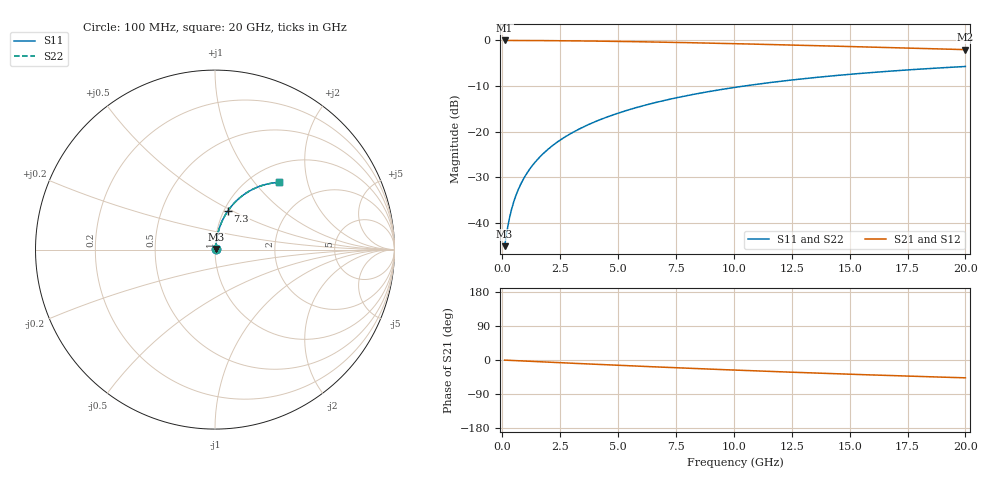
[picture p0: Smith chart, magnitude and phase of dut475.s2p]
! Touchstone file exported from HFSS 2024.1.0
!  File:  C:/UserFiles/LocalFiles/RDL_TSV_Batchsim/temp_RDL_bottom_475_1779686149.aedt
!  Generated:  01:18:20 PM May 25, 2026
!  Design:  RDL_bottom
!  Project:  temp_RDL_bottom_475_1779686149
!  Setup:  Setup1
!  Solution:  Sweep
! Variables:
!  dtsv = 10.80580581um
!  hbump = 3um
!  htsv = 92.35um
!  ldown = 597.18um
!  lrdl = 100um
!  p = 40
!  p1 = 55.81um
!  rhole = 1um
!  t = 450um
!  tdown = 3.8um
!  trdl = 3.915915916um
!  wdown = 12.78um
!  wrdl = 20um
# GHz S MA R 50.000000
! Terminal data exported
! Port[1] = RDL1_T1
! Port[2] = RDL1_T2
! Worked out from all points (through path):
!   200 points, 100 MHz to 20 GHz, reference 50 ohm
!   highest |S21| = -0.04 dB at 100 MHz (marker M1); lowest = -2.0 dB at 20 GHz (marker M2)
!   group delay of S21, straight-line fit = 6.53 ps
!   lowest |S11| = -45.1 dB at 100 MHz (marker M3), VSWR 1.01, Z = 50.4 + j0.336 ohm
!   |S11| at or under -10 dB: start of sweep to 10.49 GHz
!   |S22| runs from -45.1 to -5.7 dB; largest |S21 - S12| = 2.9e-15
!   S11 on the Smith chart (normalised r, x): 100 MHz: 1.01, +0.01; 7.3 GHz: 1.04, +0.48; 20 GHz: 1.32, +1.35
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0.1  0.005534 37.0  0.9956 -0.3  0.9956 -0.3  0.005534 37.0
! Gamma 0 0 0 0
! Port Impedance 50 0 50 0
0.2  0.008028 55.7  0.9955 -0.6  0.9955 -0.6  0.008028 55.7
0.3  0.01095 64.8  0.9954 -0.9  0.9954 -0.9  0.01095 64.8
0.4  0.01401 69.8  0.9952 -1.2  0.9952 -1.2  0.01401 69.8
0.5  0.01712 72.9  0.995 -1.4  0.995 -1.4  0.01712 72.9
0.6  0.02026 74.9  0.9949 -1.7  0.9949 -1.7  0.02026 74.9
0.8  0.02655 77.5  0.9945 -2.3  0.9945 -2.3  0.02655 77.5
1.1  0.03604 79.5  0.9938 -3.1  0.9938 -3.1  0.03604 79.5
1.5  0.04874 80.5  0.9927 -4.3  0.9927 -4.3  0.04874 80.5
1.8  0.05828 80.7  0.9917 -5.1  0.9917 -5.1  0.05828 80.7
2.1  0.06782 80.7  0.9906 -6.0  0.9906 -6.0  0.06782 80.7
2.7  0.08687 80.2  0.9878 -7.7  0.9878 -7.7  0.08687 80.2
3.5  0.1121 79.1  0.9832 -9.9  0.9832 -9.9  0.1121 79.1
4.2  0.134 77.9  0.9783 -11.8  0.9783 -11.8  0.134 77.9
5  0.1588 76.3  0.972 -13.9  0.972 -13.9  0.1588 76.3
6.8  0.2131 72.6  0.955 -18.7  0.955 -18.7  0.2131 72.6
7.3  0.2278 71.5  0.9497 -19.9  0.9497 -19.9  0.2278 71.5
8.6  0.265 68.8  0.9352 -23.2  0.9352 -23.2  0.265 68.8
10.1  0.306 65.6  0.9172 -26.8  0.9172 -26.8  0.306 65.6
13.4  0.388 58.7  0.8751 -34.2  0.8751 -34.2  0.388 58.7
16.7  0.4579 52.3  0.8319 -40.9  0.8319 -40.9  0.4579 52.3
20  0.5162 46.5  0.7899 -47.0  0.7899 -47.0  0.5162 46.5
